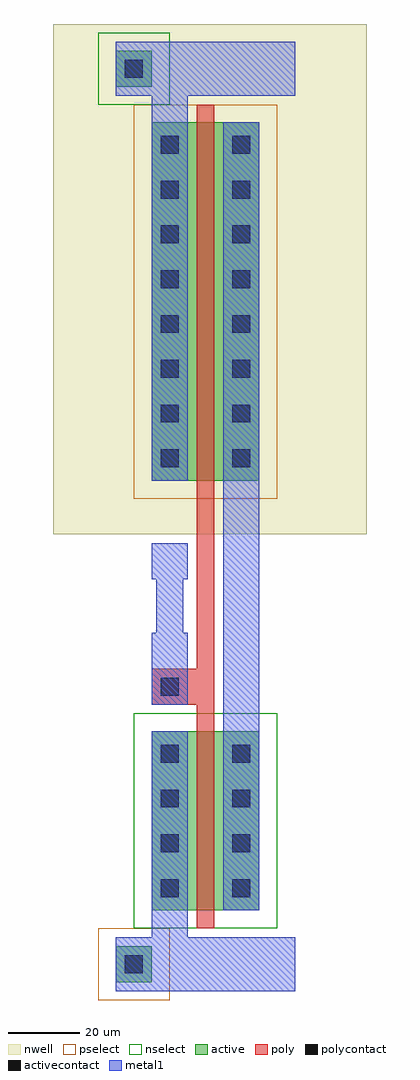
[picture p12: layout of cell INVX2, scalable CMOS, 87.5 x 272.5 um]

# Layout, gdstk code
import gdstk
lib = gdstk.Library(unit=1e-6, precision=1e-09)
def R(c, l, rs):  # rectangles x0, y0, x1, y1
    for r in rs: c.add(gdstk.rectangle(r[:2], r[2:], *l))
def A(c, l, x, y, w, h, nx, ny, dx, dy):  # array of equal rectangles
    R(c, l, [(x+i*dx, y+j*dy, x+i*dx+w, y+j*dy+h) for i in range(nx) for j in range(ny)])
nwell = (42, 0)
active = (43, 0)
pselect = (44, 0)
nselect = (45, 0)
poly = (46, 0)
polycontact = (47, 0)
activecontact = (48, 0)
metal1 = (49, 0)

invx2 = lib.new_cell('INVX2')
R(invx2, nwell, [(-22.5,120,65,262.5)])
R(invx2, active, [(-5,-5,5,5), (5,15,35,65), (5,135,35,235), (-5,245,5,255)])
R(invx2, pselect, [(-10,-10,10,10), (0,130,40,240)])
R(invx2, nselect, [(0,10,40,70), (-10,240,10,260)])
R(invx2, poly, [(17.5,10,22.5,72.5), (5,72.5,22.5,82.5), (17.5,82.5,22.5,240)])
R(invx2, polycontact, [(7.5,75,12.5,80)])
A(invx2, activecontact, 7.5, 18.75, 5, 5, 1, 4, 0, 12.5)
A(invx2, activecontact, 27.5, 18.75, 5, 5, 1, 4, 0, 12.5)
A(invx2, activecontact, 7.5, 138.75, 5, 5, 1, 8, 0, 12.5)
A(invx2, activecontact, 27.5, 138.75, 5, 5, 1, 8, 0, 12.5)
R(invx2, activecontact, [(-2.5,-2.5,2.5,2.5), (-2.5,247.5,2.5,252.5)])
R(invx2, metal1, [(-5,-7.5,45,7.5), (5,7.5,15,65), (25,15,35,235), (5,72.5,15,92.5), (6.25,83.75,13.75,116.25), (5,107.5,15,117.5), (5,135,15,242.5), (-5,242.5,45,257.5)])

lib.write_gds('INVX2.gds')
